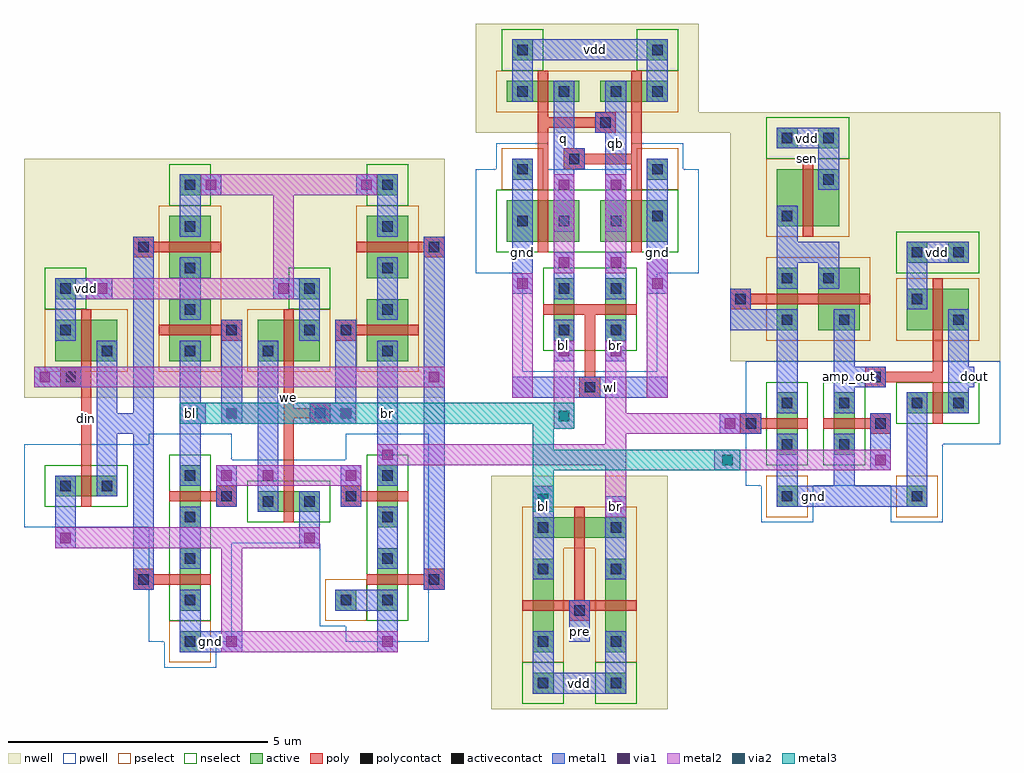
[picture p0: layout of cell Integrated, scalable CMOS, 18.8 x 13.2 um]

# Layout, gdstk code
import gdstk
lib = gdstk.Library(unit=1e-6, precision=1e-09)
def R(c, l, rs):  # rectangles x0, y0, x1, y1
    for r in rs: c.add(gdstk.rectangle(r[:2], r[2:], *l))
def A(c, l, x, y, w, h, nx, ny, dx, dy):  # array of equal rectangles
    R(c, l, [(x+i*dx, y+j*dy, x+i*dx+w, y+j*dy+h) for i in range(nx) for j in range(ny)])
pwell = (41, 0)
nwell = (42, 0)
active = (43, 0)
pselect = (44, 0)
nselect = (45, 0)
poly = (46, 0)
polycontact = (47, 0)
activecontact = (48, 0)
metal1 = (49, 0)
via1 = (50, 0)
metal2 = (51, 0)
via2 = (61, 0)
metal3 = (62, 0)

integrated = lib.new_cell('Integrated')
R(integrated, pwell, [(-6.8,-6.6,-5.8,-6.1), (-7.1,-6.1,-5.5,-4.2), (-3.3,-6.1,-1.7,-5.8), (-3.8,-5.8,-1.7,-4.2), (-7.1,-4.2,-1.7,-3.9), (-9.5,-3.9,-1.7,-2.6), (4.7,-3.8,5.7,-3.1), (7.2,-3.8,8.2,-3.1), (4.4,-3.1,8.2,-2.3), (-9.5,-2.6,-5.5,-2.3), (-3.3,-2.6,-1.7,-2.1), (-7.1,-2.3,-5.5,-2.1), (4.4,-2.3,9.3,-0.7), (0.1,-0.9,2.7,1), (-0.8,1,3.5,3), (-0.4,3,0.6,3.5), (2.2,3,3.2,3.5)])
R(integrated, nwell, [(-0.5,-7.4,2.9,-2.9), (-9.5,-1.4,-1.4,3.2), (4.1,-0.7,9.3,3.7), (-0.8,3.7,9.3,4.1), (-0.8,4.1,3.5,5.8)])
R(integrated, active, [(0.3,-7.1,0.7,-6.7), (1.7,-7.1,2.1,-6.7), (-6.5,-6.3,-6.1,-5.9), (0.3,-6.3,0.7,-4.5), (1.7,-6.3,2.1,-4.5), (-6.5,-5.5,-6.1,-4.3), (-3.5,-5.5,-3.1,-5.1), (-2.7,-5.5,-2.3,-4.3), (0.3,-4.1,2.1,-3.7), (-6.5,-3.9,-6.1,-2.7), (-2.7,-3.9,-2.3,-2.7), (-5,-3.6,-3.8,-3.2), (5,-3.5,5.4,-3.1), (7.5,-3.5,7.9,-3.1), (-8.9,-3.3,-7.7,-2.9), (5,-2.5,5.4,-1.3), (6.1,-2.5,6.5,-1.3), (7.5,-1.7,8.7,-1.3), (-8.9,-0.7,-7.7,0.1), (-6.7,-0.7,-5.9,0.5), (-5,-0.7,-3.8,0.1), (-2.9,-0.7,-2.1,0.5), (0.7,-0.3,1.1,0.9), (1.7,-0.3,2.1,0.9), (5,-0.1,5.4,1.1), (5.8,-0.1,6.6,1.1), (7.5,-0.1,8.7,0.7), (-8.9,0.5,-8.5,0.9), (-4.2,0.5,-3.8,0.9), (-6.7,0.9,-5.9,2.1), (-2.9,0.9,-2.1,2.1), (7.5,1.2,7.9,1.6), (8.3,1.2,8.7,1.6), (-0.2,1.6,1.2,2.4), (1.6,1.6,2.9,2.4), (5,1.9,6.2,3), (-6.5,2.5,-6.1,2.9), (-2.7,2.5,-2.3,2.9), (-0.1,2.8,0.3,3.2), (2.5,2.8,2.9,3.2), (5,3.4,5.4,3.8), (5.8,3.4,6.2,3.8), (-0.2,4.3,1.2,4.7), (1.6,4.3,2.9,4.7), (-0.1,5.1,0.3,5.5), (2.5,5.1,2.9,5.5)])
R(integrated, pselect, [(-6.7,-6.5,-5.9,-5.7), (0.1,-6.5,0.9,-4.3), (1.5,-6.5,2.3,-4.3), (-3.7,-5.7,-2.9,-4.9), (0.1,-4.3,2.3,-3.5), (4.8,-3.7,5.6,-2.9), (7.3,-3.7,8.1,-2.9), (-9.1,-0.9,-7.5,0.3), (-6.9,-0.9,-5.7,2.3), (-5.2,-0.9,-3.6,0.3), (-3.1,-0.9,-1.9,2.3), (4.8,-0.3,6.8,1.3), (7.3,-0.3,8.9,0.9), (4.8,1.7,6.4,3.2), (-0.3,2.6,0.5,3.4), (2.3,2.6,3.1,3.4), (-0.4,4.1,3.1,4.9)])
R(integrated, nselect, [(0.1,-7.3,0.9,-6.5), (1.5,-7.3,2.3,-6.5), (-6.7,-5.7,-5.9,-2.5), (-2.9,-5.7,-2.1,-2.5), (-5.2,-3.8,-3.6,-3), (-9.1,-3.5,-7.5,-2.7), (4.8,-2.7,5.6,-1.1), (5.9,-2.7,6.7,-1.1), (7.3,-1.9,8.9,-1.1), (0.5,-0.5,2.3,1.1), (-9.1,0.3,-8.3,1.1), (-4.4,0.3,-3.6,1.1), (7.3,1,8.9,1.8), (-0.4,1.4,3.1,2.6), (-6.7,2.3,-5.9,3.1), (-2.9,2.3,-2.1,3.1), (4.8,3.2,6.4,4), (-0.3,4.9,0.5,5.7), (2.3,4.9,3.1,5.7)])
R(integrated, poly, [(1,-5.7,1.4,-5.5), (0.1,-5.5,2.3,-5.3), (1.1,-5.3,1.3,-3.5), (-7.4,-5.1,-7,-5), (-1.8,-5.1,-1.4,-5), (-7.4,-5,-5.9,-4.8), (-2.9,-5,-1.4,-4.8), (-7.4,-4.8,-7,-4.7), (-1.8,-4.8,-1.4,-4.7), (-4.5,-3.8,-4.3,-1.8), (-8.4,-3.5,-8.2,-1.2), (-5.8,-3.5,-5.4,-3.4), (-3.4,-3.5,-3,-3.4), (-6.7,-3.4,-5.4,-3.2), (-3.4,-3.4,-2.1,-3.2), (-5.8,-3.2,-5.4,-3.1), (-3.4,-3.2,-3,-3.1), (4.3,-2.1,4.7,-2), (6.8,-2.1,7.2,-2), (4.3,-2,5.6,-1.8), (5.9,-2,7.2,-1.8), (-4,-1.9,-3.6,-1.8), (8,-1.9,8.2,-1.1), (-4.5,-1.8,-3.6,-1.6), (4.3,-1.8,4.7,-1.7), (6.8,-1.8,7.2,-1.7), (-4.5,-1.6,-4.3,0.3), (-4,-1.6,-3.6,-1.5), (1.2,-1.4,1.6,-1), (-8.8,-1.2,-8.2,-0.8), (6.7,-1.2,7.1,-1.1), (6.7,-1.1,8.2,-0.9), (1.3,-1,1.5,0.2), (6.7,-0.9,7.1,-0.8), (8,-0.9,8.2,0.9), (-8.4,-0.8,-8.2,0.3), (-5.7,-0.3,-5.3,-0.2), (-3.5,-0.3,-3.1,-0.2), (-6.9,-0.2,-5.3,0), (-3.5,-0.2,-1.9,0), (-5.7,0,-5.3,0.1), (-3.5,0,-3.1,0.1), (0.5,0.2,2.3,0.4), (4.1,0.3,4.5,0.4), (4.1,0.4,6.8,0.6), (4.1,0.6,4.5,0.7), (-7.4,1.3,-7,1.4), (-1.8,1.3,-1.4,1.4), (-7.4,1.4,-5.7,1.6), (-3.1,1.4,-1.4,1.6), (0.4,1.4,0.6,3.8), (2.2,1.4,2.4,3.1), (-7.4,1.6,-7,1.7), (-1.8,1.6,-1.4,1.7), (5.5,1.7,5.7,3.2), (0.9,3,1.3,3.1), (0.9,3.1,2.4,3.3), (0.9,3.3,1.3,3.4), (2.2,3.3,2.4,4.9), (1.5,3.7,1.9,3.8), (0.4,3.8,1.9,4), (0.4,4,0.6,4.9), (1.5,4,1.9,4.1)])
R(integrated, polycontact, [(1.1,-5.6,1.3,-5.4), (-7.3,-5,-7.1,-4.8), (-1.7,-5,-1.5,-4.8), (-5.7,-3.4,-5.5,-3.2), (-3.3,-3.4,-3.1,-3.2), (4.4,-2,4.6,-1.8), (6.9,-2,7.1,-1.8), (-3.9,-1.8,-3.7,-1.6), (1.3,-1.3,1.5,-1.1), (-8.7,-1.1,-8.5,-0.9), (6.8,-1.1,7,-0.9), (-5.6,-0.2,-5.4,0), (-3.4,-0.2,-3.2,0), (4.2,0.4,4.4,0.6), (-7.3,1.4,-7.1,1.6), (-1.7,1.4,-1.5,1.6), (1,3.1,1.2,3.3), (1.6,3.8,1.8,4)])
A(integrated, activecontact, -6.4, -6.2, 0.2, 0.2, 1, 5, 0, 0.8)
A(integrated, activecontact, -2.6, -5.4, 0.2, 0.2, 1, 4, 0, 0.8)
A(integrated, activecontact, -6.4, -0.6, 0.2, 0.2, 1, 5, 0, 0.8)
A(integrated, activecontact, -2.6, -0.6, 0.2, 0.2, 1, 5, 0, 0.8)
R(integrated, activecontact, [(0.4,-7,0.6,-6.8), (1.8,-7,2,-6.8), (0.4,-6.2,0.6,-6), (1.8,-6.2,2,-6), (-3.4,-5.4,-3.2,-5.2), (0.4,-4.8,0.6,-4.6), (1.8,-4.8,2,-4.6), (0.4,-4,0.6,-3.8), (1.8,-4,2,-3.8), (-4.9,-3.5,-4.7,-3.3), (-4.1,-3.5,-3.9,-3.3), (5.1,-3.4,5.3,-3.2), (7.6,-3.4,7.8,-3.2), (-8.8,-3.2,-8.6,-3), (-8,-3.2,-7.8,-3), (5.1,-2.4,5.3,-2.2), (6.2,-2.4,6.4,-2.2), (5.1,-1.6,5.3,-1.4), (6.2,-1.6,6.4,-1.4), (7.6,-1.6,7.8,-1.4), (8.4,-1.6,8.6,-1.4), (-8,-0.6,-7.8,-0.4), (-4.9,-0.6,-4.7,-0.4), (-8.8,-0.2,-8.6,0), (-4.1,-0.2,-3.9,0), (0.8,-0.2,1,0), (1.8,-0.2,2,0), (5.1,0,5.3,0.2), (6.2,0,6.4,0.2), (8.4,0,8.6,0.2), (7.6,0.4,7.8,0.6), (-8.8,0.6,-8.6,0.8), (-4.1,0.6,-3.9,0.8), (0.8,0.6,1,0.8), (1.8,0.6,2,0.8), (5.1,0.8,5.3,1), (5.9,0.8,6.1,1), (7.6,1.3,7.8,1.5), (8.4,1.3,8.6,1.5), (0,1.9,0.2,2.1), (0.8,1.9,1,2.1), (1.8,1.9,2,2.1), (2.6,2,2.8,2.2), (5.1,2,5.3,2.2), (5.9,2.7,6.1,2.9), (0,2.9,0.2,3.1), (2.6,2.9,2.8,3.1), (5.1,3.5,5.3,3.7), (5.9,3.5,6.1,3.7), (0,4.4,0.2,4.6), (0.8,4.4,1,4.6), (1.8,4.4,2,4.6), (2.6,4.4,2.8,4.6), (0,5.2,0.2,5.4), (2.6,5.2,2.8,5.4)])
A(integrated, metal1, -6.5, -4.7, 0.4, 1.2, 1, 4, 0, 1.6)
R(integrated, metal1, [(0.3,-7.1,2.1,-6.7), (0.3,-6.7,0.7,-5.9), (1.7,-6.7,2.1,-5.9), (-6.5,-6.3,-5.3,-5.9), (-2.7,-6.3,-2.3,-5.5), (1,-6.1,1.4,-5.3), (-6.5,-5.9,-6.1,-5.1), (-3.5,-5.5,-2.3,-5.1), (-7.4,-5.1,-7,-2.1), (-1.8,-5.1,-1.4,1.7), (0.3,-4.9,0.7,-3.1), (1.7,-4.9,2.1,-3.3), (-2.7,-4.7,-2.3,-3.5), (-8.9,-4.3,-8.5,-2.9), (-4.2,-4.3,-3.8,-3.2), (-5,-3.6,-4.6,-0.3), (-5.8,-3.5,-5.4,-2.7), (-3.4,-3.5,-3,-2.7), (5,-3.5,7.9,-3.1), (-8.1,-3.3,-7.7,-2.1), (-2.7,-3.1,-2.3,-0.3), (5,-3.1,5.4,-2.1), (6.1,-3.1,6.5,-2.1), (7.5,-3.1,7.9,-1.3), (6.8,-2.8,7.2,-1.7), (-8.1,-2.1,-7,-1.7), (3.9,-2.1,4.7,-1.7), (-6.5,-1.9,-6,-1.5), (-5.7,-1.9,-5.3,0.1), (-4,-1.9,-3.1,-1.5), (-8.1,-1.7,-7.7,-0.3), (-7.4,-1.7,-7,1.7), (5,-1.7,5.4,-0.1), (6.1,-1.7,6.5,-1.2), (8.3,-1.7,8.7,-1.2), (-3.5,-1.5,-3.1,0.1), (-0.1,-1.4,2.9,-1), (-9.3,-1.2,-8.4,-0.8), (6.1,-1.2,7.1,-0.8), (8.3,-1.2,8.8,-0.8), (6.1,-0.8,6.5,0.3), (8.3,-0.8,8.7,0.3), (0.7,-0.7,1.1,0.1), (1.7,-0.7,2.1,0.1), (-8.9,-0.3,-8.5,0.5), (-4.2,-0.3,-3.8,0.5), (4.1,-0.1,5.4,0.3), (-2.7,0.1,-2.3,1.3), (4.1,0.3,4.5,0.7), (7.5,0.3,7.9,1.2), (-8.9,0.5,-7.8,0.9), (-4.7,0.5,-3.8,0.9), (0.7,0.5,1.1,1.4), (1.7,0.5,2.1,1.4), (-0.1,0.6,0.3,3.2), (2.5,0.6,2.9,3.2), (5,0.7,5.4,1.2), (5.8,0.7,6.2,1.2), (5,1.2,6.2,1.6), (7.5,1.2,8.7,1.6), (5,1.6,5.4,2.3), (-6.5,1.7,-6.1,2.5), (-2.7,1.7,-2.3,2.5), (0.7,1.8,1.1,3), (1.7,1.8,2.1,3.7), (-6.5,2.5,-5.7,2.9), (-3.1,2.5,-2.3,2.9), (5.8,2.6,6.2,3.4), (0.7,3,1.3,3.4), (0.7,3.4,1.1,4.7), (5,3.4,6.2,3.8), (1.5,3.7,2.1,4.1), (1.7,4.1,2.1,4.7), (-0.1,4.3,0.3,5.1), (2.5,4.3,2.9,5.1), (-0.1,5.1,2.9,5.5)])
R(integrated, via1, [(-5.6,-6.2,-5.4,-6), (-2.6,-6.2,-2.4,-6), (-8.8,-4.2,-8.6,-4), (-4.1,-4.2,-3.9,-4), (1.8,-3.6,2,-3.4), (-5.7,-3,-5.5,-2.8), (-4.9,-3,-4.7,-2.8), (-3.3,-3,-3.1,-2.8), (6.9,-2.7,7.1,-2.5), (-2.6,-2.6,-2.4,-2.4), (4,-2,4.2,-1.8), (-5.6,-1.8,-5.4,-1.6), (-3.4,-1.8,-3.2,-1.6), (-9.2,-1.1,-9,-0.9), (-1.7,-1.1,-1.5,-0.9), (0.8,-0.6,1,-0.4), (1.8,-0.6,2,-0.4), (-8.1,0.6,-7.9,0.8), (-4.6,0.6,-4.4,0.8), (0,0.7,0.2,0.9), (2.6,0.7,2.8,0.9), (0.8,1.1,1,1.3), (1.8,1.1,2,1.3), (-6,2.6,-5.8,2.8), (-3,2.6,-2.8,2.8), (0.8,2.6,1,2.8), (1.8,2.6,2,2.8)])
R(integrated, metal2, [(-5.7,-6.3,-2.3,-5.9), (-5.7,-5.9,-5.3,-4.3), (-8.9,-4.3,-3.8,-3.9), (1.7,-3.7,2.1,-2.7), (0.3,-3.6,0.7,-3.1), (-5.8,-3.1,-3,-2.7), (3.8,-2.8,7.2,-2.4), (-2.7,-2.7,2.1,-2.3), (1.7,-2.3,2.1,-2.1), (1.7,-2.1,4.3,-1.7), (0.7,-2,1.1,-0.3), (-6.5,-1.9,-6,-1.5), (-5.7,-1.9,-3.1,-1.5), (1.7,-1.7,2.1,-0.3), (-0.1,-1.4,0.3,1), (2.5,-1.4,2.9,1.4), (-9.3,-1.2,-1.4,-0.8), (-8.3,0.5,-4.3,0.9), (-4.7,0.9,-4.3,2.5), (0.7,1,1.1,2.9), (1.7,1,2.1,2.9), (-6.1,2.5,-2.7,2.9)])
R(integrated, via2, [(0.4,-3.45,0.6,-3.25), (3.95,-2.7,4.15,-2.5), (0.8,-1.85,1,-1.65), (-6.35,-1.8,-6.15,-1.6)])
R(integrated, metal3, [(0.3,-3.6,0.7,-2.8), (0.3,-2.8,4.3,-2.4), (0.3,-2.4,0.7,-2), (0.3,-2,1.1,-1.9), (-6.5,-1.9,1.1,-1.5)])
integrated.add(gdstk.Label('vdd', (-8.3,0.7), layer=49, texttype=0))
integrated.add(gdstk.Label('din', (-8.3,-1.8), layer=46, texttype=0))
integrated.add(gdstk.Label('din_bar', (-7.9,-1.9), layer=49, texttype=0))
integrated.add(gdstk.Label('gnd', (-5.9,-6.1), layer=49, texttype=0))
integrated.add(gdstk.Label('br', (-2.5,-1.7), layer=49, texttype=0))
integrated.add(gdstk.Label('we', (-4.4,-1.4), layer=46, texttype=0))
integrated.add(gdstk.Label('we_bar', (-4.8,-1.4), layer=49, texttype=0))
integrated.add(gdstk.Label('bl', (-6.3,-1.7), layer=49, texttype=0))
integrated.add(gdstk.Label('q', (0.9,3.6), layer=49, texttype=0))
integrated.add(gdstk.Label('gnd', (0.1,1.4), layer=49, texttype=0))
integrated.add(gdstk.Label('bl', (0.9,-0.4), layer=51, texttype=0))
integrated.add(gdstk.Label('br', (1.9,-0.4), layer=51, texttype=0))
integrated.add(gdstk.Label('gnd', (2.7,1.4), layer=49, texttype=0))
integrated.add(gdstk.Label('qb', (1.9,3.5), layer=49, texttype=0))
integrated.add(gdstk.Label('vdd', (1.5,5.3), layer=49, texttype=0))
integrated.add(gdstk.Label('wl', (1.8,-1.2), layer=49, texttype=0))
integrated.add(gdstk.Label('br', (1.9,-3.5), layer=51, texttype=0))
integrated.add(gdstk.Label('pre', (1.2,-5.9), layer=49, texttype=0))
integrated.add(gdstk.Label('vdd', (1.2,-6.9), layer=49, texttype=0))
integrated.add(gdstk.Label('bl', (0.5,-3.5), layer=49, texttype=0))
integrated.add(gdstk.Label('gnd', (5.7,-3.3), layer=49, texttype=0))
integrated.add(gdstk.Label('dout', (8.8,-1), layer=49, texttype=0))
integrated.add(gdstk.Label('vdd', (8.1,1.4), layer=49, texttype=0))
integrated.add(gdstk.Label('amp_out', (6.4,-1), layer=49, texttype=0))
integrated.add(gdstk.Label('vdd', (5.6,3.6), layer=49, texttype=0))
integrated.add(gdstk.Label('sen', (5.6,3.2), layer=46, texttype=0))

lib.write_gds('Integrated.gds')
